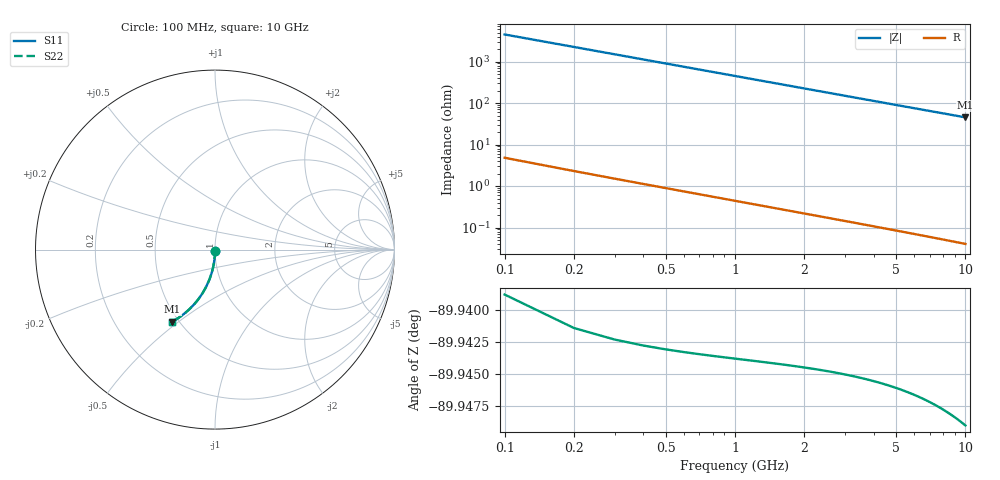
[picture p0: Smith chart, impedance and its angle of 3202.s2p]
# Hz S RI R 50.00
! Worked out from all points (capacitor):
!   100 points, 100 MHz to 10 GHz, reference 50 ohm
!   read as one part in shunt: C = 354 fF near 100 MHz
!   lowest |Z| = 45.3 ohm at 10 GHz (marker M1)
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1e8  0.000149 -0.00532  0.9998 -0.0058  0.9998 -0.0058  0.000149 -0.00532
2e8  5.18e-05 -0.0106  0.9997 -0.0116  0.9997 -0.0116  5.18e-05 -0.0106
3e8  -0.000107 -0.016  0.9995 -0.0174  0.9995 -0.0174  -0.000107 -0.016
4e8  -0.000328 -0.0213  0.9993 -0.0232  0.9993 -0.0232  -0.000328 -0.0213
5e8  -0.00061 -0.0266  0.999 -0.029  0.999 -0.029  -0.00061 -0.0266
6e8  -0.000954 -0.0319  0.9987 -0.0348  0.9987 -0.0348  -0.000954 -0.0319
7e8  -0.00136 -0.0372  0.9983 -0.0406  0.9983 -0.0406  -0.00136 -0.0372
8e8  -0.00183 -0.0425  0.9978 -0.0463  0.9978 -0.0463  -0.00183 -0.0425
9e8  -0.00235 -0.0478  0.9973 -0.0521  0.9973 -0.0521  -0.00235 -0.0478
1.1e9  -0.00359 -0.0583  0.996 -0.0636  0.996 -0.0636  -0.00359 -0.0583
1.4e9  -0.0059 -0.074  0.9937 -0.0808  0.9937 -0.0808  -0.0059 -0.074
1.8e9  -0.00981 -0.0948  0.9898 -0.1035  0.9898 -0.1035  -0.00981 -0.0948
2.1e9  -0.0134 -0.1102  0.9862 -0.1203  0.9862 -0.1203  -0.0134 -0.1102
2.5e9  -0.0189 -0.1304  0.9806 -0.1425  0.9806 -0.1425  -0.0189 -0.1304
2.9e9  -0.0253 -0.1502  0.9742 -0.1643  0.9742 -0.1643  -0.0253 -0.1502
3.4e9  -0.0345 -0.1744  0.965 -0.1909  0.965 -0.1909  -0.0345 -0.1744
4.2e9  -0.0518 -0.2115  0.9476 -0.2319  0.9476 -0.2319  -0.0518 -0.2115
5.1e9  -0.0746 -0.2505  0.9247 -0.2752  0.9247 -0.2752  -0.0746 -0.2505
5.9e9  -0.0975 -0.2824  0.9017 -0.3111  0.9017 -0.3111  -0.0975 -0.2824
6.7e9  -0.1224 -0.3115  0.8766 -0.3441  0.8766 -0.3441  -0.1224 -0.3115
8.4e9  -0.1803 -0.364  0.8185 -0.4049  0.8185 -0.4049  -0.1803 -0.364
1e10  -0.2382 -0.4015  0.7602 -0.4504  0.7602 -0.4504  -0.2382 -0.4015
